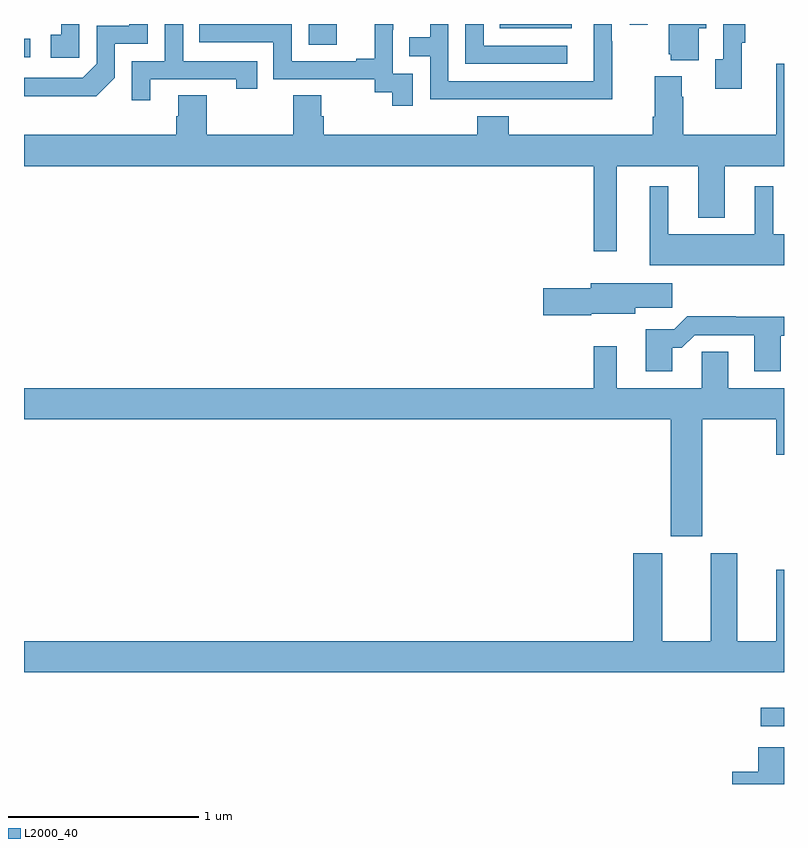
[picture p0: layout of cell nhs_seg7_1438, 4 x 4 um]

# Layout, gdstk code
import gdstk
lib = gdstk.Library(unit=1e-6, precision=1e-09)
def R(c, l, rs):  # rectangles x0, y0, x1, y1
    for r in rs: c.add(gdstk.rectangle(r[:2], r[2:], *l))
def P(c, l, *ps):  # polygons
    for p in ps: c.add(gdstk.Polygon(p, *l))
L2000_40 = (2000, 40)

nhs_seg7_1438 = lib.new_cell('nhs_seg7_1438')
R(nhs_seg7_1438, L2000_40, [(212.877,1028.304,213,1028.402), (209,1031.826,209.032,1031.922), (210.498,1031.892,210.646,1032), (211.504,1031.978,211.882,1032), (212.187,1031.997,212.283,1032)])
P(nhs_seg7_1438, L2000_40, [(211.858,1031.886),(211.419,1031.886),(211.419,1032),(211.323,1032),(211.323,1031.79),(211.858,1031.79)],
  [(211.047,1031.739),(210.942,1031.739),(210.942,1031.969),(210.944,1031.969),(210.944,1032),(210.845,1032),(210.845,1031.818),(210.749,1031.818),(210.749,1031.805),(210.408,1031.805),(210.408,1032),(209.923,1032),(209.923,1031.904),(210.312,1031.904),(210.312,1031.709),(210.846,1031.709),(210.846,1031.641),(210.939,1031.641),(210.939,1031.571),(211.047,1031.571)],
  [(212.097,1031.909),(212.094,1031.909),(212.094,1032),(211.998,1032),(211.998,1031.7),(211.233,1031.7),(211.233,1032),(211.137,1032),(211.137,1031.93),(211.027,1031.93),(211.027,1031.829),(211.137,1031.829),(211.137,1031.604),(211.633,1031.604),(211.633,1031.603),(212.097,1031.603)],
  [(209.292,1032),(209.195,1032),(209.195,1031.943),(209.142,1031.943),(209.142,1031.823),(209.292,1031.823)],
  [(212.777,1031.902),(212.795,1031.902),(212.795,1032),(212.679,1032),(212.679,1031.814),(212.639,1031.814),(212.639,1031.658),(212.777,1031.658)],
  [(212.551,1031.978),(212.59,1031.978),(212.59,1032),(212.393,1032),(212.393,1031.841),(212.405,1031.841),(212.405,1031.81),(212.551,1031.81)],
  [(209.478,1031.718),(209.478,1031.895),(209.652,1031.895),(209.652,1032),(209.555,1032),(209.555,1031.991),(209.382,1031.991),(209.382,1031.79),(209.31,1031.718),(209,1031.718),(209,1031.621),(209.38,1031.621)],
  [(209.665,1031.709),(210.116,1031.709),(210.116,1031.658),(210.227,1031.658),(210.227,1031.805),(209.838,1031.805),(209.838,1032),(209.742,1032),(209.742,1031.805),(209.568,1031.805),(209.568,1031.598),(209.665,1031.598)],
  [(212.119,1031.252),(212.549,1031.252),(212.549,1030.979),(212.689,1030.979),(212.689,1031.252),(213,1031.252),(213,1031.791),(212.96,1031.791),(212.96,1031.416),(212.469,1031.416),(212.469,1031.618),(212.461,1031.618),(212.461,1031.725),(212.321,1031.725),(212.321,1031.512),(212.309,1031.512),(212.309,1031.416),(211.55,1031.416),(211.55,1031.515),(211.385,1031.515),(211.385,1031.416),(210.578,1031.416),(210.578,1031.514),(210.565,1031.514),(210.565,1031.624),(210.418,1031.624),(210.418,1031.416),(209.961,1031.416),(209.961,1031.624),(209.813,1031.624),(209.813,1031.514),(209.801,1031.514),(209.801,1031.416),(209,1031.416),(209,1031.252),(211.998,1031.252),(211.998,1030.803),(212.119,1030.803)],
  [(213,1030.894),(212.944,1030.894),(212.944,1031.146),(212.846,1031.146),(212.846,1030.894),(212.392,1030.894),(212.392,1031.146),(212.294,1031.146),(212.294,1030.73),(213,1030.73)],
  [(211.986,1030.475),(212.218,1030.475),(212.218,1030.507),(212.413,1030.507),(212.413,1030.636),(211.982,1030.636),(211.982,1030.61),(211.734,1030.61),(211.734,1030.468),(211.986,1030.468)],
  [(212.413,1030.295),(212.462,1030.295),(212.529,1030.362),(212.843,1030.362),(212.843,1030.173),(212.983,1030.173),(212.983,1030.359),(213,1030.359),(213,1030.46),(212.747,1030.46),(212.747,1030.463),(212.492,1030.463),(212.422,1030.393),(212.273,1030.393),(212.273,1030.173),(212.413,1030.173)],
  [(212.119,1030.305),(211.998,1030.305),(211.998,1030.084),(209,1030.084),(209,1029.92),(212.405,1029.92),(212.405,1029.305),(212.569,1029.305),(212.569,1029.92),(212.96,1029.92),(212.96,1029.732),(213,1029.732),(213,1030.084),(212.707,1030.084),(212.707,1030.274),(212.568,1030.274),(212.568,1030.084),(212.119,1030.084)],
  [(213,1029.127),(212.96,1029.127),(212.96,1028.752),(212.755,1028.752),(212.755,1029.214),(212.615,1029.214),(212.615,1028.752),(212.359,1028.752),(212.359,1029.214),(212.207,1029.214),(212.207,1028.752),(209,1028.752),(209,1028.588),(213,1028.588)],
  [(213,1028.194),(212.864,1028.194),(212.864,1028.065),(212.727,1028.065),(212.727,1028),(213,1028)])

lib.write_gds('nhs_seg7_1438.gds')
